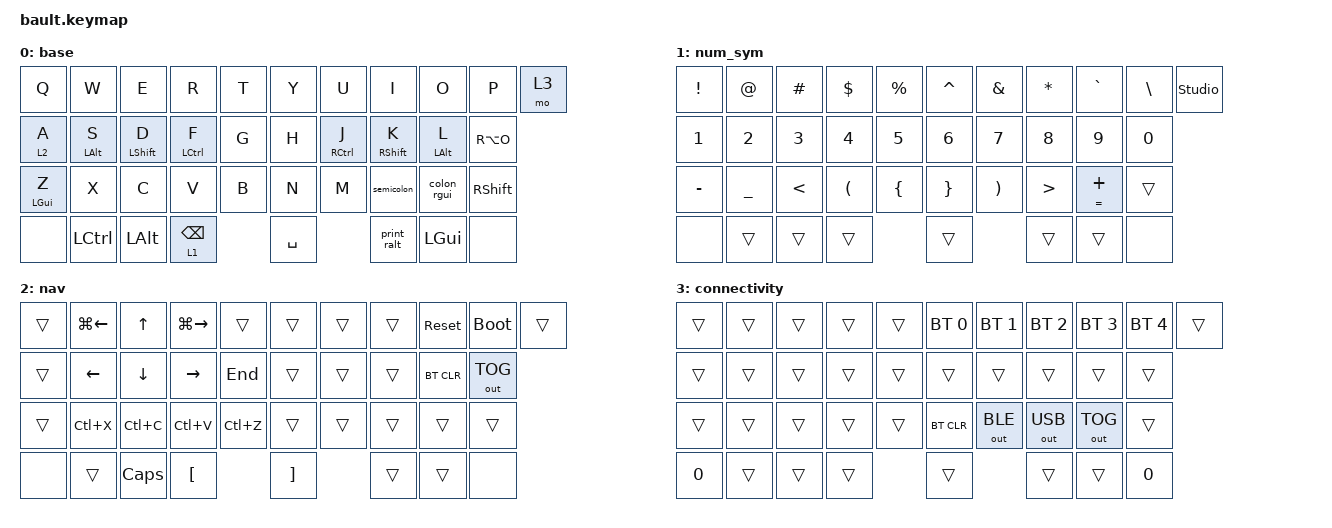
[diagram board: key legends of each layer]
#include <behaviors.dtsi>
#include <dt-bindings/zmk/bt.h>
#include <dt-bindings/zmk/keys.h>
#include <dt-bindings/zmk/outputs.h>

/ {
    combos {
        compatible = "zmk,combos";

        combo_esc {
            bindings = <&kp ESCAPE>;
            key-positions = <0 1>;
            layers = <0 1>;
            timeout-ms = <30>;
        };

        combo_del {
            bindings = <&kp DELETE>;
            key-positions = <0 2>;
            layers = <0 1>;
            timeout-ms = <30>;
        };

        combo_tab {
            bindings = <&kp TAB>;
            key-positions = <11 12>;
            layers = <0 1>;
            timeout-ms = <30>;
        };

        combo_single_quote {
            bindings = <&kp SINGLE_QUOTE>;
            key-positions = <6 7>;
            layers = <0 1>;
            timeout-ms = <30>;
        };

        combo_double_quote {
            bindings = <&kp DOUBLE_QUOTES>;
            key-positions = <6 7 8>;
            layers = <0 1>;
            timeout-ms = <30>;
        };

        combo_enter {
            bindings = <&kp ENTER>;
            key-positions = <20 19 18>;
            layers = <0 1>;
            timeout-ms = <30>;
        };

        combo_aa {
            bindings = <&kp RA(W)>;
            key-positions = <8 9>;
            layers = <0 1>;
            timeout-ms = <30>;
        };

        combo_ae {
            bindings = <&kp RA(A)>;
            key-positions = <20 19>;
            layers = <0 1>;
            timeout-ms = <30>;
        };

        combo_question {
            bindings = <&kp QUESTION>;
            key-positions = <28 27>;
            layers = <0 1>;
            timeout-ms = <30>;
        };

        combo_slash {
            bindings = <&kp SLASH>;
            key-positions = <28 29>;
            layers = <0 1>;
            timeout-ms = <30>;
        };

        combo_capsword {
            bindings = <&caps_word>;
            key-positions = <13 18>;
            layers = <0 1>;
            timeout-ms = <30>;
        };
    };
};

&mt { tapping-term-ms = <170>; };

/ {
    behaviors {
        hm: homerow_mods {
            compatible = "zmk,behavior-hold-tap";
            display-name = "Homerow Mods";
            bindings = <&kp>, <&kp>;

            #binding-cells = <2>;
            tapping-term-ms = <200>;
            quick-tap-ms = <180>;
            require-prior-idle-ms = <0>;
            flavor = "tap-preferred";
        };

        semicolon: semicolon {
            compatible = "zmk,behavior-mod-morph";
            label = "SEMICOLON";
            bindings = <&kp COMMA>, <&kp SEMI>;

            #binding-cells = <0>;
            mods = <(MOD_LSFT|MOD_RSFT)>;
        };

        colon: colon {
            compatible = "zmk,behavior-mod-morph";
            label = "COLON";
            bindings = <&kp DOT>, <&kp SEMI>;

            #binding-cells = <0>;
            mods = <(MOD_LSFT|MOD_RSFT)>;
            keep-mods = <(MOD_RSFT|MOD_LSFT)>;
        };

        plus_equals: plus_equals {
            compatible = "zmk,behavior-hold-tap";
            label = "PLUS_EQUALS";
            bindings = <&kp>, <&kp>;

            #binding-cells = <2>;
            flavor = "balanced";
            tapping-term-ms = <125>;
        };

        backspace: backspace {
            compatible = "zmk,behavior-hold-tap";
            label = "BACKSPACE";
            bindings = <&mo>, <&kp>;

            #binding-cells = <2>;
            tapping-term-ms = <200>;
            quick-tap-ms = <150>;
            flavor = "balanced";
        };

        hrm: hrm {
            compatible = "zmk,behavior-hold-tap";
            label = "HRM";
            bindings = <&kp>, <&kp>;

            #binding-cells = <2>;
            tapping-term-ms = <200>;
            quick-tap-ms = <180>;
            require-prior-idle-ms = <2>;
            flavor = "tap-preferred";
        };

        colon_rgui: colon_rgui {
            compatible = "zmk,behavior-mod-morph";
            label = "COLON_RGUI";
            bindings = <&hrm RGUI DOT>, <&kp SEMI>;

            #binding-cells = <0>;
            mods = <(MOD_LSFT|MOD_RSFT)>;
            keep-mods = <(MOD_LSFT|MOD_RSFT)>;
        };

        print_ralt: print_ralt {
            compatible = "zmk,behavior-tap-dance";
            label = "PRINT_RALT";
            #binding-cells = <0>;
            bindings = <&kp PSCRN>, <&sk RALT>;
        };
    };

    keymap {
        compatible = "zmk,keymap";

        base {
            bindings = <
&kp Q        &kp W        &kp E         &kp R                   &kp T  &kp Y      &kp U         &kp I         &kp O        &kp P      &mo 3
&lt 2 A      &hrm LALT S  &hrm LSHFT D  &hrm LCTRL F            &kp G  &kp H      &hrm RCTRL J  &hrm RSHFT K  &hrm LALT L  &kp RA(O)
&hrm LGUI Z  &kp X        &kp C         &kp V                   &kp B  &kp N      &kp M         &semicolon    &colon_rgui  &kp RSHFT
&none        &kp LCTRL    &kp LALT      &backspace 1 BACKSPACE         &kp SPACE                &print_ralt   &kp LGUI     &none
            >;
        };

        num_sym {
            bindings = <
&kp EXCL   &kp AT     &kp HASH       &kp DOLLAR  &kp PERCENT     &kp CARET        &kp AMPERSAND  &kp ASTERISK      &kp GRAVE                &kp BACKSLASH  &studio_unlock
&kp N1     &kp N2     &kp N3         &kp N4      &kp N5          &kp N6           &kp N7         &kp N8            &kp N9                   &kp N0
&kp MINUS  &kp UNDER  &kp LESS_THAN  &kp LPAR    &kp LEFT_BRACE  &kp RIGHT_BRACE  &kp RPAR       &kp GREATER_THAN  &plus_equals EQUAL PLUS  &trans
&none      &trans     &trans         &trans                      &trans                          &trans            &trans                   &none
            >;
        };

        nav {
            bindings = <
&trans  &kp LG(LEFT)  &kp UP     &kp LG(RIGHT)  &trans     &trans    &trans  &trans  &sys_reset  &bootloader   &trans
&trans  &kp LEFT      &kp DOWN   &kp RIGHT      &kp END    &trans    &trans  &trans  &bt BT_CLR  &out OUT_TOG
&trans  &kp LC(X)     &kp LC(C)  &kp LC(V)      &kp LC(Z)  &trans    &trans  &trans  &trans      &trans
&none   &trans        &kp CAPS   &kp LBKT                  &kp RBKT          &trans  &trans      &none
            >;
        };

        connectivity {
            bindings = <
&trans  &trans  &trans  &trans  &trans  &bt BT_SEL 0  &bt BT_SEL 1  &bt BT_SEL 2  &bt BT_SEL 3  &bt BT_SEL 4  &trans
&trans  &trans  &trans  &trans  &trans  &trans        &trans        &trans        &trans        &trans
&trans  &trans  &trans  &trans  &trans  &bt BT_CLR    &out OUT_BLE  &out OUT_USB  &out OUT_TOG  &trans
&kp N0  &trans  &trans  &trans          &trans                      &trans        &trans        &kp N0
            >;
        };
    };
};
